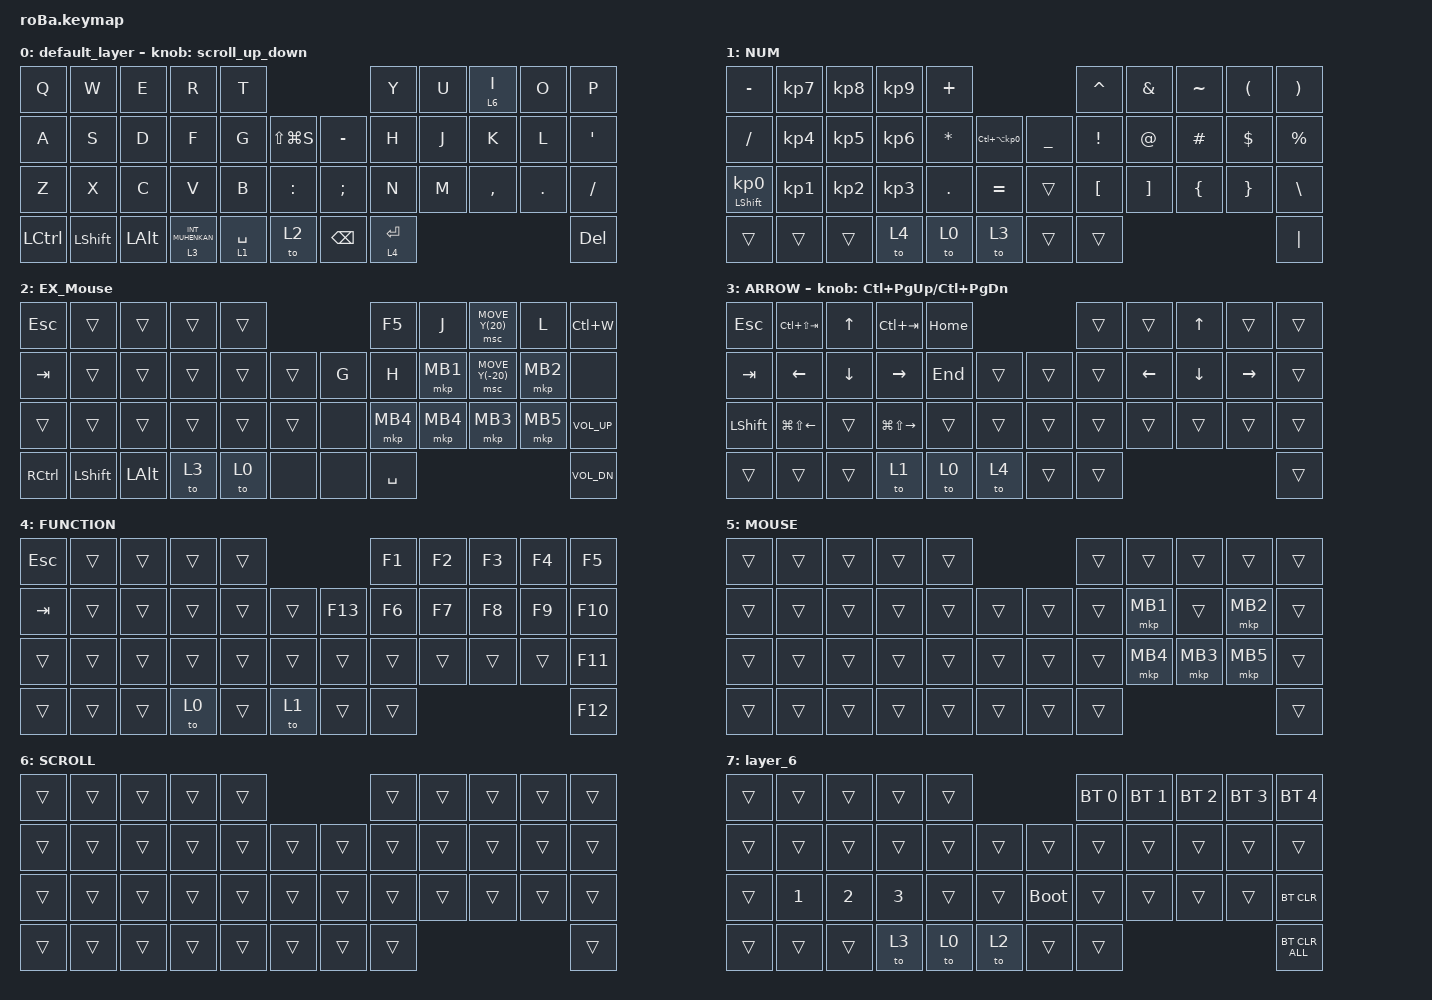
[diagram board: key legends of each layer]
#include <behaviors.dtsi>
#include <dt-bindings/zmk/bt.h>
#include <dt-bindings/zmk/keys.h>
#include <dt-bindings/zmk/pointing.h>

// OS設定を日本語キーボードのまま使用するための変換定義

#define JP_DQUOTE       AT                // "
#define JP_AMPERSAND    CARET             // &
#define JP_QUOTE        AMPERSAND         // '
#define JP_EQUAL        UNDER             // =
#define JP_CARET        EQUAL             // ^
#define JP_YEN          0x89              // ¥
#define JP_PLUS         COLON             // +
#define JP_TILDE        PLUS              // ~
#define JP_PIPE         LS(0x89)          // |
#define JP_AT           LEFT_BRACKET      // @
#define JP_COLON        SINGLE_QUOTE      // :
#define JP_ASTERISK     DOUBLE_QUOTES     // *
#define JP_BACKQUOTE    LEFT_BRACE        // `
#define JP_UNDERSCORE   LS(0x87)          // _
#define JP_LBRACKET     RIGHT_BRACKET     // [
#define JP_RBRACKET     BACKSLASH         // ]
#define JP_LPAREN       ASTERISK          // (
#define JP_RPAREN       LEFT_PARENTHESIS  // )
#define JP_LBRACE       RIGHT_BRACE       // {
#define JP_RBRACE       PIPE              // }
#define JP_KANA         LANGUAGE_1        // かな
#define JP_EISU         LANGUAGE_2        // 英数
#define JP_HANZEN       GRAVE             // 半角/全角
#define ZMK_POINTING_DEFAULT_SCRL_VAL 100
#define MOUSE 4
#define SCROLL 5
#define NUM 6

&mt {
    flavor = "balanced";
    quick-tap-ms = <0>;
};

/ {
    combos {
        compatible = "zmk,combos";

        tab {
            bindings = <&kp TAB>;
            key-positions = <11 12>;
        };

        shift_tab {
            bindings = <&kp LS(TAB)>;
            key-positions = <12 13>;
        };

        muhennkann {
            bindings = <&to_layer_0 INT_MUHENKAN>;
            key-positions = <11 10>;
        };

        double_quotation {
            bindings = <&kp DOUBLE_QUOTES>;
            key-positions = <20 21>;
        };

        eq {
            bindings = <&kp EQUAL>;
            key-positions = <24 25>;
        };
    };

    macros {
        to_layer_0: to_layer_0 {
            compatible = "zmk,behavior-macro-one-param";
            #binding-cells = <1>;
            bindings = <&to 0 &macro_param_1to1 &kp MACRO_PLACEHOLDER>;
            label = "TO_LAYER_0";
        };
    };

    behaviors {
        lt_to_layer_0: lt_to_layer_0 {
            compatible = "zmk,behavior-hold-tap";
            label = "LAYER_TAP_TO_0";
            bindings = <&mo>, <&to_layer_0>;

            #binding-cells = <2>;
            tapping-term-ms = <200>;
        };

        // 新しいスクロール動作の追加

        scroll_up_down: behavior_sensor_rotate_mouse_wheel_up_down {
            compatible = "zmk,behavior-sensor-rotate";
            #sensor-binding-cells = <0>;
            bindings = <&msc SCRL_UP>, <&msc SCRL_DOWN>;

            // 追加: スクロールのタップ時間を設定 (20ms)

            tap-ms = <20>;
        };
    };

    keymap {
        compatible = "zmk,keymap";

        default_layer {
            bindings = <
&kp Q      &kp W           &kp E         &kp R                          &kp T                                          &kp Y        &kp U  &lt 6 I    &kp O    &kp P
&kp A      &kp S           &kp D         &kp F                          &kp G        &kp LS(LG(S))      &kp MINUS      &kp H        &kp J  &kp K      &kp L    &kp SQT
&kp Z      &kp X           &kp C         &kp V                          &kp B        &kp COLON          &kp SEMICOLON  &kp N        &kp M  &kp COMMA  &kp DOT  &kp SLASH
&kp LCTRL  &kp LEFT_SHIFT  &kp LEFT_ALT  &lt_to_layer_0 3 INT_MUHENKAN  &lt 1 SPACE  &to 2              &kp BACKSPACE  &lt 4 ENTER                             &kp DEL
            >;

            sensor-bindings = <&scroll_up_down>;
        };

        NUM {
            bindings = <
&kp MINUS                   &kp KP_NUMBER_7  &kp KP_NUMBER_8  &kp KP_NUMBER_9  &kp PLUS                                                   &kp CARET         &kp AMPERSAND      &kp TILDE       &kp LEFT_PARENTHESIS  &kp RIGHT_PARENTHESIS
&kp SLASH                   &kp KP_NUMBER_4  &kp KP_NUMBER_5  &kp KP_NUMBER_6  &kp ASTERISK  &kp LC(LA(KP_NUMBER_0))      &kp UNDERSCORE  &kp EXCLAMATION   &kp AT_SIGN        &kp HASH        &kp DOLLAR            &kp PERCENT
&mt LEFT_SHIFT KP_NUMBER_0  &kp KP_NUMBER_1  &kp KP_NUMBER_2  &kp KP_NUMBER_3  &kp PERIOD    &kp EQUAL                    &trans          &kp LEFT_BRACKET  &kp RIGHT_BRACKET  &kp LEFT_BRACE  &kp RIGHT_BRACE       &kp BACKSLASH
&trans                      &trans           &trans           &to 4            &to 0         &to 3                        &trans          &trans                                                                     &kp PIPE
            >;
        };

        EX_Mouse {
            bindings = <
&kp ESCAPE  &trans          &trans        &trans  &trans                     &kp F5     &kp J     &msc MOVE_Y(20)   &kp L     &kp LC(W)
&kp TAB     &trans          &trans        &trans  &trans  &trans      &kp G  &kp H      &mkp MB1  &msc MOVE_Y(-20)  &mkp MB2  &none
&trans      &trans          &trans        &trans  &trans  &trans      &none  &mkp MB4   &mkp MB4  &mkp MB3          &mkp MB5  &kp C_VOLUME_UP
&kp RCTRL   &kp LEFT_SHIFT  &kp LEFT_ALT  &to 3   &to 0   &none       &none  &kp SPACE                                        &kp C_VOL_DN
            >;
        };

        ARROW {
            bindings = <
&kp ESCAPE      &kp LC(LS(TAB))         &kp UP_ARROW    &kp LC(TAB)              &kp HOME                      &trans  &trans          &kp UP_ARROW    &trans           &trans
&kp TAB         &kp LEFT_ARROW          &kp DOWN_ARROW  &kp RIGHT_ARROW          &kp END   &trans      &trans  &trans  &kp LEFT_ARROW  &kp DOWN_ARROW  &kp RIGHT_ARROW  &trans
&kp LEFT_SHIFT  &kp LG(LS(LEFT_ARROW))  &trans          &kp LG(LS(RIGHT_ARROW))  &trans    &trans      &trans  &trans  &trans          &trans          &trans           &trans
&trans          &trans                  &trans          &to 1                    &to 0     &to 4       &trans  &trans                                                   &trans
            >;

            sensor-bindings = <&inc_dec_kp LC(PAGE_UP) LC(PAGE_DOWN)>;
        };

        FUNCTION {
            bindings = <
&kp ESCAPE  &trans  &trans  &trans  &trans                       &kp F1  &kp F2  &kp F3  &kp F4  &kp F5
&kp TAB     &trans  &trans  &trans  &trans  &trans      &kp F13  &kp F6  &kp F7  &kp F8  &kp F9  &kp F10
&trans      &trans  &trans  &trans  &trans  &trans      &trans   &trans  &trans  &trans  &trans  &kp F11
&trans      &trans  &trans  &to 0   &trans  &to 1       &trans   &trans                          &kp F12
            >;
        };

        MOUSE {
            bindings = <
&trans  &trans  &trans  &trans  &trans                      &trans  &trans    &trans    &trans    &trans
&trans  &trans  &trans  &trans  &trans  &trans      &trans  &trans  &mkp MB1  &trans    &mkp MB2  &trans
&trans  &trans  &trans  &trans  &trans  &trans      &trans  &trans  &mkp MB4  &mkp MB3  &mkp MB5  &trans
&trans  &trans  &trans  &trans  &trans  &trans      &trans  &trans                                &trans
            >;
        };

        SCROLL {
            bindings = <
&trans  &trans  &trans  &trans  &trans                      &trans  &trans  &trans  &trans  &trans
&trans  &trans  &trans  &trans  &trans  &trans      &trans  &trans  &trans  &trans  &trans  &trans
&trans  &trans  &trans  &trans  &trans  &trans      &trans  &trans  &trans  &trans  &trans  &trans
&trans  &trans  &trans  &trans  &trans  &trans      &trans  &trans                          &trans
            >;
        };

        layer_6 {
            bindings = <
&trans  &trans        &trans        &trans        &trans                           &bt BT_SEL 0  &bt BT_SEL 1  &bt BT_SEL 2  &bt BT_SEL 3  &bt BT_SEL 4
&trans  &trans        &trans        &trans        &trans  &trans      &trans       &trans        &trans        &trans        &trans        &trans
&trans  &kp NUMBER_1  &kp NUMBER_2  &kp NUMBER_3  &trans  &trans      &bootloader  &trans        &trans        &trans        &trans        &bt BT_CLR
&trans  &trans        &trans        &to 3         &to 0   &to 2       &trans       &trans                                                  &bt BT_CLR_ALL
            >;
        };
    };
};
